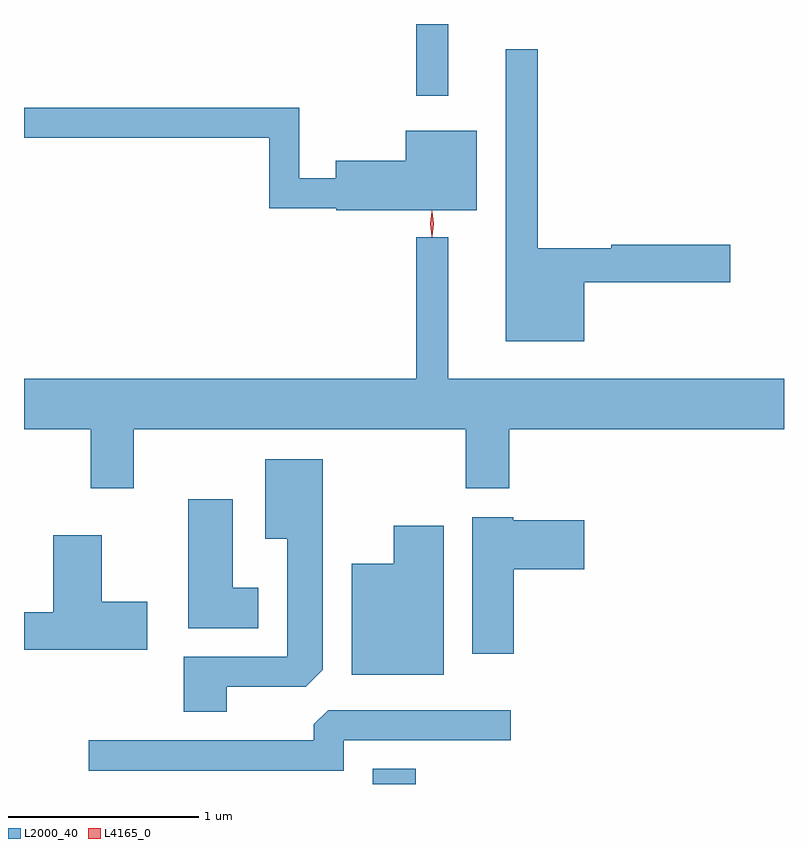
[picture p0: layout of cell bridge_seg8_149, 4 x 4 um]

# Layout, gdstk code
import gdstk
lib = gdstk.Library(unit=1e-6, precision=1e-09)
def R(c, l, rs):  # rectangles x0, y0, x1, y1
    for r in rs: c.add(gdstk.rectangle(r[:2], r[2:], *l))
def P(c, l, *ps):  # polygons
    for p in ps: c.add(gdstk.Polygon(p, *l))
L2000_40 = (2000, 40)
L4165_0 = (4165, 0)

bridge_seg8_149 = lib.new_cell('bridge_seg8_149')
R(bridge_seg8_149, L2000_40, [(1748.401,1819.01,1748.629,1819.089), (1748.631,1822.633,1748.799,1823.01)])
P(bridge_seg8_149, L2000_40, [(1749.514,1821.651),(1750.284,1821.651),(1750.284,1821.849),(1749.656,1821.849),(1749.656,1821.829),(1749.269,1821.829),(1749.269,1822.878),(1749.101,1822.878),(1749.101,1821.341),(1749.514,1821.341)],
  [(1748.949,1822.449),(1748.576,1822.449),(1748.576,1822.289),(1748.206,1822.289),(1748.206,1822.199),(1748.014,1822.199),(1748.014,1822.569),(1746.566,1822.569),(1746.566,1822.411),(1747.856,1822.411),(1747.856,1822.041),(1748.21,1822.041),(1748.21,1822.031),(1748.949,1822.031)],
  [(1747.144,1820.876),(1748.891,1820.876),(1748.891,1820.566),(1749.119,1820.566),(1749.119,1820.876),(1750.566,1820.876),(1750.566,1821.144),(1748.799,1821.144),(1748.799,1821.888),(1748.631,1821.888),(1748.631,1821.144),(1746.566,1821.144),(1746.566,1820.876),(1746.916,1820.876),(1746.916,1820.566),(1747.144,1820.566)],
  [(1747.634,1819.521),(1748.049,1819.521),(1748.139,1819.612),(1748.139,1820.719),(1747.836,1820.719),(1747.836,1820.301),(1747.951,1820.301),(1747.951,1819.679),(1747.406,1819.679),(1747.406,1819.391),(1747.634,1819.391)],
  [(1747.799,1820.044),(1747.664,1820.044),(1747.664,1820.509),(1747.431,1820.509),(1747.431,1819.831),(1747.799,1819.831)],
  [(1749.144,1820.141),(1749.514,1820.141),(1749.514,1820.399),(1749.14,1820.399),(1749.14,1820.414),(1748.926,1820.414),(1748.926,1819.696),(1749.144,1819.696)],
  [(1748.774,1820.369),(1748.511,1820.369),(1748.511,1820.169),(1748.291,1820.169),(1748.291,1819.586),(1748.774,1819.586)],
  [(1747.214,1819.969),(1746.974,1819.969),(1746.974,1820.319),(1746.721,1820.319),(1746.721,1819.914),(1746.566,1819.914),(1746.566,1819.716),(1747.214,1819.716)],
  [(1748.249,1819.241),(1749.128,1819.241),(1749.128,1819.399),(1748.167,1819.399),(1748.091,1819.324),(1748.091,1819.239),(1746.908,1819.239),(1746.908,1819.081),(1748.249,1819.081)])
P(bridge_seg8_149, L4165_0, [(1748.714,1821.893),(1748.713,1821.894),(1748.703,1821.956),(1748.712,1822.02),(1748.713,1822.02),(1748.713,1822.02),(1748.723,1821.957),(1748.714,1821.894)],
  [(1748.713,1821.89),(1748.704,1821.958),(1748.713,1822.025),(1748.713,1822.026),(1748.714,1822.025),(1748.723,1821.958),(1748.714,1821.89),(1748.714,1821.89)])

lib.write_gds('bridge_seg8_149.gds')
